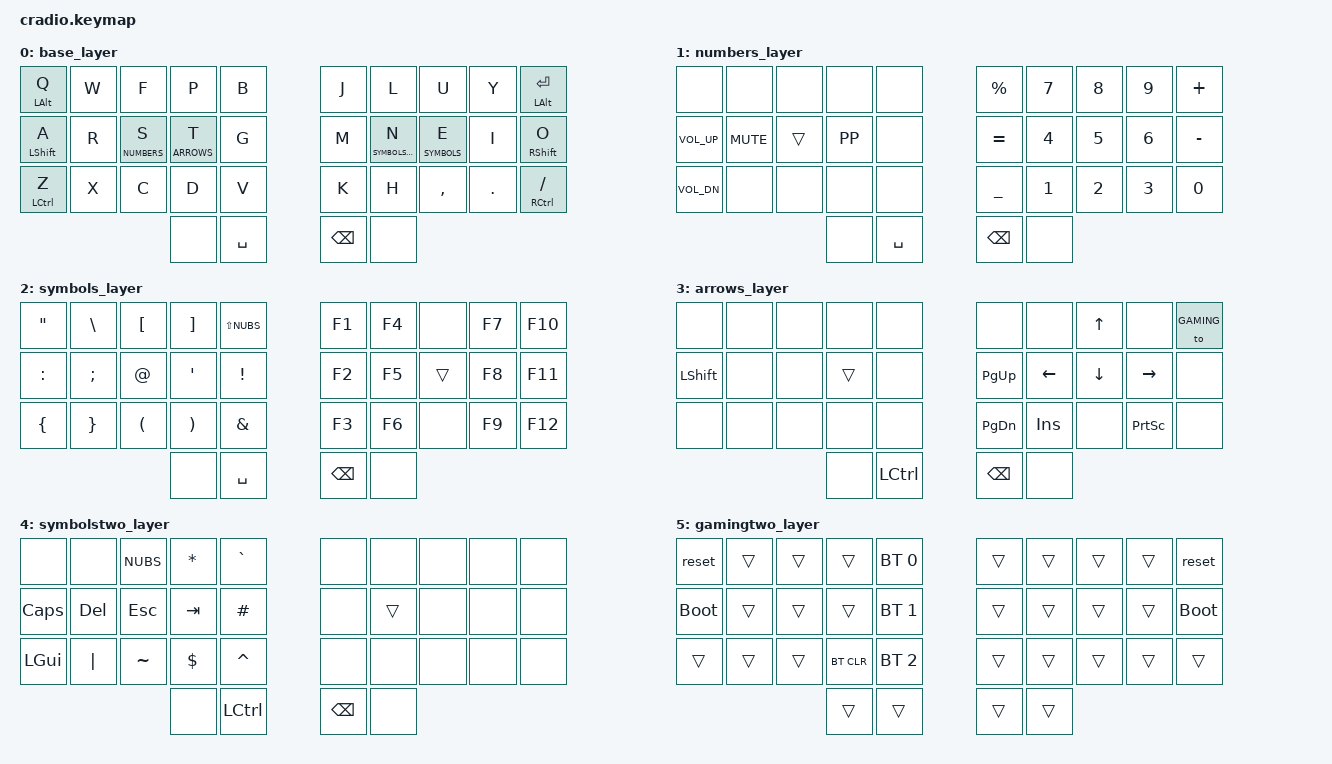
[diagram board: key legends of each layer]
// Copyright (c) 2022 The ZMK Contributors
// SPDX-License-Identifier: MIT

#include <behaviors.dtsi>
#include <dt-bindings/zmk/keys.h>
#include <dt-bindings/zmk/bt.h>
#include <dt-bindings/zmk/mouse.h>

// Home row mods macro
//#define HRML(k1,k2,k3,k4) &ht LSHFT k1  &ht LALT k2  &ht LCTRL k3  &ht LGUI k4
//#define HRMR(k1,k2,k3,k4) &ht RGUI k1  &ht RCTRL k2  &ht RALT k3  &ht RSHFT k4

#define BASE 0
#define NUMBERS 1
#define SYMBOLS 2
#define ARROWS 3
#define SYMBOLSTWO 4
#define GAMING 5
#define GAMINGTWO 6
/ {
    behaviors {
        ht: hold_tap {
            label = "hold_tap";
            compatible = "zmk,behavior-hold-tap";
            #binding-cells = <2>;
            flavor = "tap-preferred";
            tapping-term-ms = <220>;
            quick-tap-ms = <150>;
            global-quick-tap;
            bindings = <&kp>, <&kp>;
        };
    };
    

    keymap {
        compatible = "zmk,keymap";
        base_layer {
            bindings = <
                &mt LALT Q  &kp W   &kp F   &kp P   &kp B   &kp J   &kp L   &kp U   &kp Y   &mt LALT RET
                &mt LSHFT A  &kp R   &lt NUMBERS S   &lt ARROWS T    &kp G   &kp M   &lt SYMBOLSTWO N   &lt SYMBOLS E   &kp I   &mt RSHFT O
                &mt LCTRL Z  &kp X  &kp C   &kp D   &kp V   &kp K   &kp H   &kp COMMA   &kp DOT &mt RCTRL FSLH
                                            &none   &kp SPACE   &kp BSPC    &none
            >;
        };

        numbers_layer {
            bindings = <
                &none   &none   &none   &none   &none   &kp PRCNT   &kp N7  &kp N8  &kp N9  &kp PLUS
                &kp K_VOL_UP    &kp K_MUTE  &trans  &kp K_PP    &none   &kp EQUAL   &kp N4  &kp N5  &kp N6  &kp MINUS
                &kp K_VOL_DN    &none   &none   &none   &none   &kp UNDER   &kp N1  &kp N2  &kp N3  &kp N0
                                                &none   &kp SPACE   &kp BSPC   &none
            >;
        };

         symbols_layer {
            bindings = <
                &kp DQT  &kp BSLH   &kp LBKT    &kp RBKT    &kp LS(NUBS)   &kp F1   &kp F4  &none   &kp F7  &kp F10
                &kp COLON   &kp SEMI    &kp AT  &kp APOS    &kp EXCL    &kp F2  &kp F5  &trans  &kp F8  &kp F11
                &kp LBRC    &kp RBRC    &kp LPAR    &kp RPAR    &kp AMPS    &kp F3  &kp F6  &none   &kp F9  &kp F12
                                                    &none   &kp SPACE   &kp BSPC    &none
            >;
        };

        arrows_layer {
            bindings = <
                &none   &none   &none   &none   &none  &none &none   &kp UP  &none    &to GAMING  
                &kp LSHFT  &none   &none   &trans &none &kp PG_UP   &kp LEFT    &kp DOWN    &kp RIGHT   &none
                &none   &none   &none   &none   &none   &kp PG_DN   &kp INS &none   &kp PSCRN   &none   
                                    &none   &kp LCTRL   &kp BSPC    &none
            >;
        };
        
        symbolstwo_layer {
            bindings = <    
                &none   &none   &kp NUBS   &kp STAR   &kp GRAVE   &none   &none   &none   &none   &none
                &kp CAPS    &kp DEL &kp ESC &kp TAB &kp HASH   &none   &trans  &none   &none   &none
                &kp LGUI    &kp PIPE   &kp TILDE    &kp DLLR   &kp CARET    &none   &none   &none   &none   &none
                                               &none   &kp LCTRL   &kp BSPC    &none
            >;
        };
        
        gamingtwo_layer {
            bindings = <
        //╭──────────┬──────────┬──────────┬──────────┬──────────╮   ╭──────────┬──────────┬──────────┬──────────┬──────────╮
        //│ RESET    │          │          │          │PROFILE 0 │   │          │          │          │          │  RESET   │
            &reset     &trans     &trans     &trans    &bt BT_SEL 0    &trans     &trans     &trans     &trans      &reset
        //├──────────┼──────────┼──────────┼──────────┼──────────┤   ├──────────┼──────────┼──────────┼──────────┼──────────┤
        //│BOOTLOADER│          │          │          │PROFILE 1 │   │          │          │          │          │BOOTLOADER│
          &bootloader  &trans     &trans     &trans    &bt BT_SEL 1    &trans     &trans     &trans     &trans    &bootloader
        //├──────────┼──────────┼──────────┼──────────┼──────────┤   ├──────────┼──────────┼──────────┼──────────┼──────────┤
        //│          │          │          │ CLEAR BT │PROFILE 2 │   │          │          │          │          │          │
            &trans     &trans     &trans    &bt BT_CLR &bt BT_SEL 2    &trans     &trans     &trans     &trans     &trans
        //╰──────────┴──────────┴──────────┼──────────┼──────────┤   ├──────────┼──────────┼──────────┴──────────┴──────────╯
                                             &trans     &trans         &trans     &trans
        //                                 ╰──────────┴──────────╯   ╰──────────┴──────────╯
            >;
        };
    };
};
//
